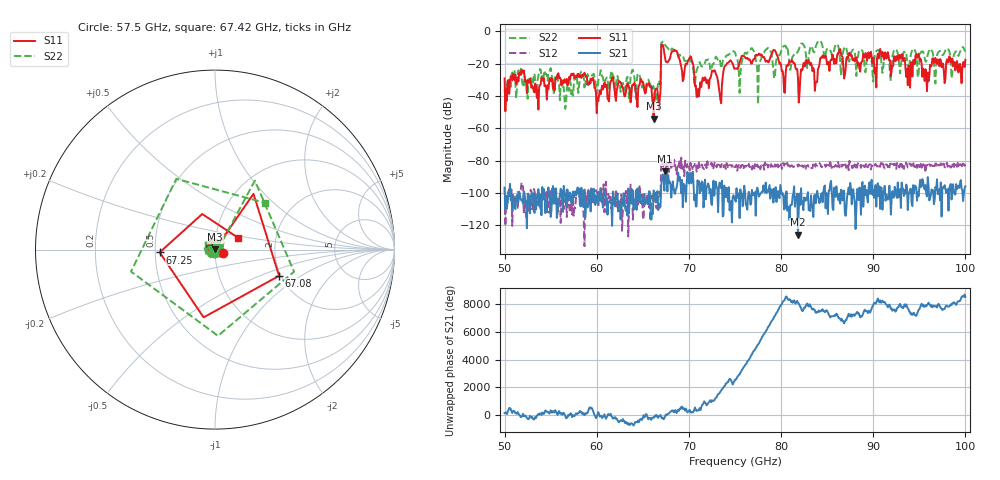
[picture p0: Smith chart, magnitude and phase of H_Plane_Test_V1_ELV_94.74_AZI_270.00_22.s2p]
! 11/27/2026 8:15:38 AM
! C:\ANRITSUVNA\TEMP\TEMP.S2P
! CHANNEL.1
! TR.MEASUREMENT
! RAW.DATA
# HZ S RI R 50.0
! FREQ.HZ  S11RE  S11IM  S21RE  S21IM  S12RE  S12IM  S22RE  S22IM
!; PortSelection: Port_12
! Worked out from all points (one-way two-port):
!   601 points, 50 GHz to 100 GHz, reference 50 ohm
!   highest |S21| = -86.67 dB at 67.42 GHz (marker M1); lowest = -125.9 dB at 81.83 GHz (marker M2)
!   lowest |S11| = -54.0 dB at 66.17 GHz (marker M3), VSWR 1.00, Z = 50.1 + j0.151 ohm
!   |S11| at or under -10 dB: start of sweep to 67 GHz; 67.24 GHz to end of sweep
!   |S22| runs from -47.9 to -5.6 dB; largest |S21 - S12| = 0.00013
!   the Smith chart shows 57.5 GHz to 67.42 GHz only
!   S11 on the Smith chart (normalised r, x): 57.5 GHz: 1.09, -0.05; 67.08 GHz: 1.96, -0.67; 67.25 GHz: 0.53, -0.02; 67.42 GHz: 1.29, +0.17
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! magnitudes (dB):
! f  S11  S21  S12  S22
! 50 GHz  -29.1  -96.8  -96.6  -36.0
! 51.67 GHz  -26.2  -101.1  -98.9  -23.2
! 53.42 GHz  -34.9  -110.3  -104.7  -35.0
! 57.5 GHz  -26.1  -102.9  -114.1  -34.4
! 58.42 GHz  -27.1  -105.0  -102.0  -24.6
! 60.17 GHz  -43.2  -99.4  -108.8  -30.2
! 66.17 GHz  -54.0  -98.5  -99.6  -33.9
! 66.67 GHz  -41.8  -110.7  -104.4  -31.6
! 67.08 GHz  -8.3  -91.1  -80.6  -6.8
! 67.25 GHz  -10.2  -89.8  -82.9  -6.3
! 67.42 GHz  -16.7  -86.7  -81.7  -8.4
! 70.25 GHz  -16.0  -94.1  -83.4  -18.8
! 70.92 GHz  -40.5  -92.2  -82.8  -23.0
! 75 GHz  -23.1  -104.1  -83.6  -13.0
! 79.25 GHz  -11.4  -97.4  -83.8  -28.9
! 81.83 GHz  -28.7  -125.9  -83.7  -12.3
! 83.42 GHz  -24.7  -109.1  -84.6  -10.8
! 91.67 GHz  -16.8  -103.6  -82.1  -15.3
! 93.75 GHz  -33.3  -110.6  -84.3  -21.8
! 94.83 GHz  -14.8  -99.4  -81.3  -28.5
! 95.83 GHz  -37.0  -102.3  -82.7  -16.4
! 100 GHz  -17.6  -95.9  -83.6  -12.6
